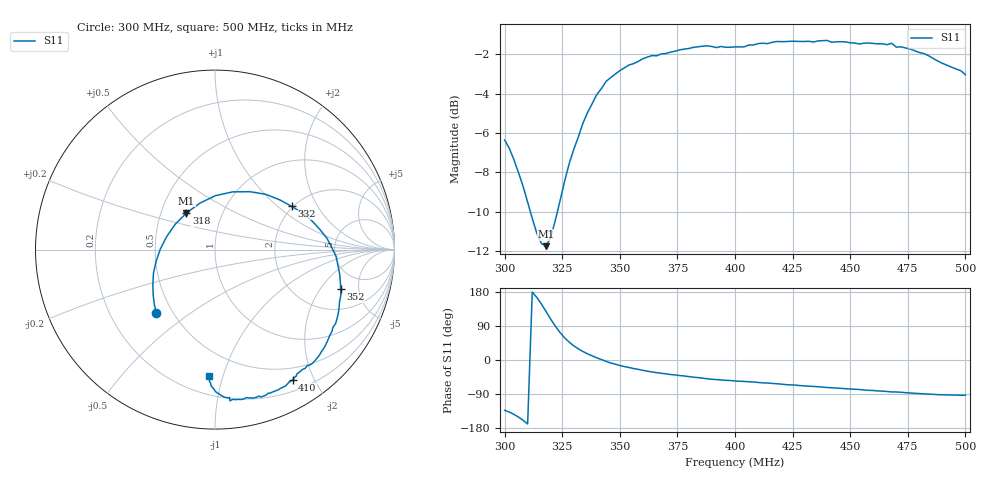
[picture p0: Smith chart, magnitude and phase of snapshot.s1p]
! Preliminary copper dipole supported by soldering station at one end; uncontrolled geometry; active calibration retained
# Hz S RI R 50
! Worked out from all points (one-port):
!   101 points, 300 MHz to 500 MHz, reference 50 ohm
!   lowest |S11| = -11.7 dB at 318 MHz (marker M1), VSWR 1.70, Z = 33.7 + j14.7 ohm
!   |S11| at or under -10 dB: 311.2 MHz to 322.9 MHz (11.72 MHz wide, 3.7 % of centre)
!   S11 on the Smith chart (normalised r, x): 300 MHz: 0.41, -0.37; 318 MHz: 0.67, +0.29; 332 MHz: 1.96, +1.25; 352 MHz: 3.35, -3.18; 410 MHz: 0.34, -1.71; 500 MHz: 0.32, -0.90
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3e8  -0.3266 -0.3533
3.02e8  -0.3371 -0.3113
3.06e8  -0.3464 -0.1964
3.1e8  -0.3281 -0.0648
3.14e8  -0.269 0.0729
3.18e8  -0.1594 0.2037
3.22e8  0.00296 0.3006
3.26e8  0.1951 0.3227
3.28e8  0.2836 0.3078
3.32e8  0.4264 0.2411
3.36e8  0.5421 0.1583
3.4e8  0.6244 0.0622
3.44e8  0.6761 -0.0409
3.5e8  0.6986 -0.1803
3.52e8  0.7001 -0.2189
3.62e8  0.6799 -0.3848
3.76e8  0.6146 -0.535
3.88e8  0.5413 -0.6349
4e8  0.4715 -0.6818
4.1e8  0.4328 -0.7257
4.26e8  0.3463 -0.7835
4.4e8  0.2574 -0.8214
4.5e8  0.1994 -0.8253
4.68e8  0.083 -0.8426
4.7e8  0.0815 -0.8239
4.76e8  0.0437 -0.8176
4.88e8  -0.0189 -0.763
5e8  -0.0346 -0.7043
